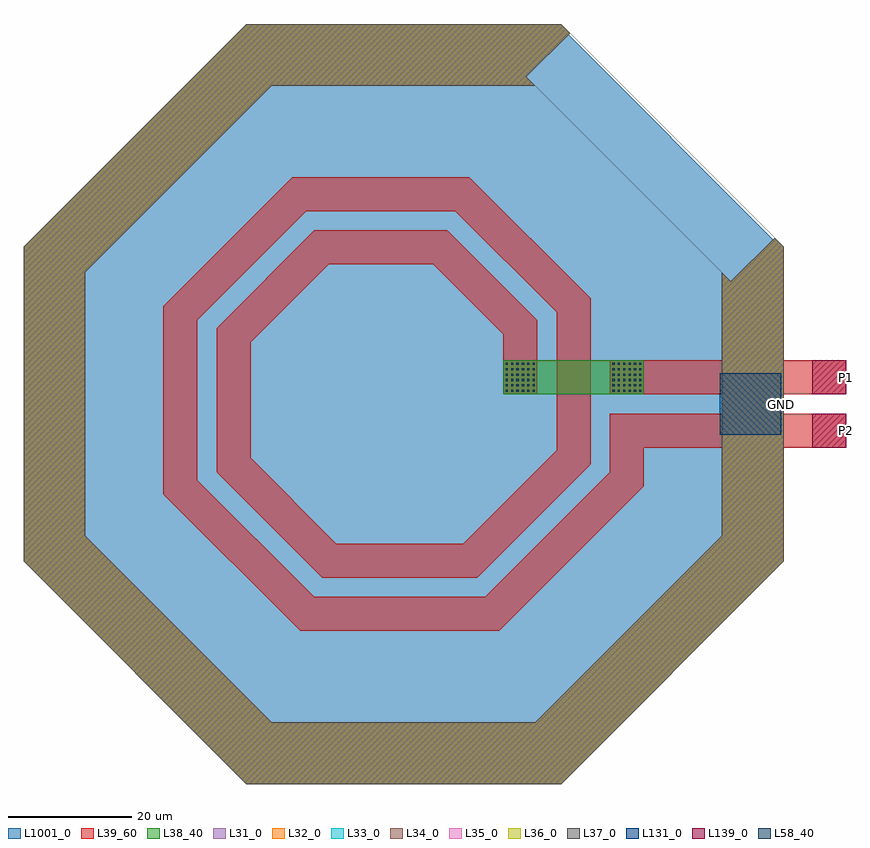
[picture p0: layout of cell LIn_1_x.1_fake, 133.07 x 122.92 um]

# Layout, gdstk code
import gdstk
lib = gdstk.Library(unit=1e-6, precision=1e-09)
def R(c, l, rs):  # rectangles x0, y0, x1, y1
    for r in rs: c.add(gdstk.rectangle(r[:2], r[2:], *l))
def A(c, l, x, y, w, h, nx, ny, dx, dy):  # array of equal rectangles
    R(c, l, [(x+i*dx, y+j*dy, x+i*dx+w, y+j*dy+h) for i in range(nx) for j in range(ny)])
def P(c, l, *ps):  # polygons
    for p in ps: c.add(gdstk.Polygon(p, *l))
L31_0 = (31, 0)
L32_0 = (32, 0)
L33_0 = (33, 0)
L34_0 = (34, 0)
L35_0 = (35, 0)
L36_0 = (36, 0)
L37_0 = (37, 0)
L38_40 = (38, 40)
L39_60 = (39, 60)
L58_40 = (58, 40)
L131_0 = (131, 0)
L139_0 = (139, 0)
L1001_0 = (1001, 0)

lin_1_x_1_fake = lib.new_cell('LIn_1_x.1_fake')
P(lin_1_x_1_fake, L31_0, [(52.925,19.851),(59.996,26.922),(25.458,61.46),(-25.458,61.46),(-61.46,25.458),(-61.46,-25.458),(-25.458,-61.46),(25.458,-61.46),(61.46,-25.458),(61.46,25.458),(26.922,59.996),(19.851,52.925),(51.46,21.315),(51.46,-21.315),(21.315,-51.46),(-21.315,-51.46),(-51.46,-21.315),(-51.46,21.315),(-21.315,51.46),(21.315,51.46)])
P(lin_1_x_1_fake, L32_0, [(52.925,19.851),(59.996,26.922),(25.458,61.46),(-25.458,61.46),(-61.46,25.458),(-61.46,-25.458),(-25.458,-61.46),(25.458,-61.46),(61.46,-25.458),(61.46,25.458),(26.922,59.996),(19.851,52.925),(51.46,21.315),(51.46,-21.315),(21.315,-51.46),(-21.315,-51.46),(-51.46,-21.315),(-51.46,21.315),(-21.315,51.46),(21.315,51.46)])
P(lin_1_x_1_fake, L33_0, [(52.925,19.851),(59.996,26.922),(25.458,61.46),(-25.458,61.46),(-61.46,25.458),(-61.46,-25.458),(-25.458,-61.46),(25.458,-61.46),(61.46,-25.458),(61.46,25.458),(26.922,59.996),(19.851,52.925),(51.46,21.315),(51.46,-21.315),(21.315,-51.46),(-21.315,-51.46),(-51.46,-21.315),(-51.46,21.315),(-21.315,51.46),(21.315,51.46)])
P(lin_1_x_1_fake, L34_0, [(52.925,19.851),(59.996,26.922),(25.458,61.46),(-25.458,61.46),(-61.46,25.458),(-61.46,-25.458),(-25.458,-61.46),(25.458,-61.46),(61.46,-25.458),(61.46,25.458),(26.922,59.996),(19.851,52.925),(51.46,21.315),(51.46,-21.315),(21.315,-51.46),(-21.315,-51.46),(-51.46,-21.315),(-51.46,21.315),(-21.315,51.46),(21.315,51.46)])
P(lin_1_x_1_fake, L35_0, [(52.925,19.851),(59.996,26.922),(25.458,61.46),(-25.458,61.46),(-61.46,25.458),(-61.46,-25.458),(-25.458,-61.46),(25.458,-61.46),(61.46,-25.458),(61.46,25.458),(26.922,59.996),(19.851,52.925),(51.46,21.315),(51.46,-21.315),(21.315,-51.46),(-21.315,-51.46),(-51.46,-21.315),(-51.46,21.315),(-21.315,51.46),(21.315,51.46)])
P(lin_1_x_1_fake, L36_0, [(52.925,19.851),(59.996,26.922),(25.458,61.46),(-25.458,61.46),(-61.46,25.458),(-61.46,-25.458),(-25.458,-61.46),(25.458,-61.46),(61.46,-25.458),(61.46,25.458),(26.922,59.996),(19.851,52.925),(51.46,21.315),(51.46,-21.315),(21.315,-51.46),(-21.315,-51.46),(-51.46,-21.315),(-51.46,21.315),(-21.315,51.46),(21.315,51.46)])
P(lin_1_x_1_fake, L37_0, [(52.925,19.851),(59.996,26.922),(25.458,61.46),(-25.458,61.46),(-61.46,25.458),(-61.46,-25.458),(-25.458,-61.46),(25.458,-61.46),(61.46,-25.458),(61.46,25.458),(26.922,59.996),(19.851,52.925),(51.46,21.315),(51.46,-21.315),(21.315,-51.46),(-21.315,-51.46),(-51.46,-21.315),(-51.46,21.315),(-21.315,51.46),(21.315,51.46)])
R(lin_1_x_1_fake, L38_40, [(16.11,1.56,38.86,7.06)])
P(lin_1_x_1_fake, L38_40, [(52.925,19.851),(59.996,26.922),(25.458,61.46),(-25.458,61.46),(-61.46,25.458),(-61.46,-25.458),(-25.458,-61.46),(25.458,-61.46),(61.46,-25.458),(61.46,25.458),(26.922,59.996),(19.851,52.925),(51.46,21.315),(51.46,-21.315),(21.315,-51.46),(-21.315,-51.46),(-51.46,-21.315),(-51.46,21.315),(-21.315,51.46),(21.315,51.46)])
R(lin_1_x_1_fake, L39_60, [(33.36,-7.06,71.61,-1.56), (33.36,1.56,71.61,7.06)])
P(lin_1_x_1_fake, L39_60, [(16.11,1.56),(21.61,1.56),(21.61,13.524),(7.059,28.08),(-14.419,28.08),(-30.235,12.264),(-30.235,-10.999),(-13.154,-28.08),(11.894,-28.08),(30.235,-9.739),(30.235,17.099),(10.629,36.705),(-17.994,36.705),(-38.86,15.834),(-38.86,-14.574),(-16.729,-36.705),(15.464,-36.705),(38.86,-13.309),(38.86,-4.31),(33.36,-4.31),(33.36,-11.031),(13.186,-31.205),(-14.451,-31.205),(-33.36,-12.296),(-33.36,13.556),(-15.716,31.205),(8.351,31.205),(24.735,14.821),(24.735,-7.461),(9.616,-22.58),(-10.876,-22.58),(-24.735,-8.721),(-24.735,9.986),(-12.141,22.58),(4.781,22.58),(16.11,11.246)],
  [(52.925,19.851),(59.996,26.922),(25.458,61.46),(-25.458,61.46),(-61.46,25.458),(-61.46,-25.458),(-25.458,-61.46),(25.458,-61.46),(61.46,-25.458),(61.46,25.458),(26.922,59.996),(19.851,52.925),(51.46,21.315),(51.46,-21.315),(21.315,-51.46),(-21.315,-51.46),(-51.46,-21.315),(-51.46,21.315),(-21.315,51.46),(21.315,51.46)])
A(lin_1_x_1_fake, L58_40, 16.512, 1.962, 0.35, 0.35, 6, 6, 0.87, 0.87)
A(lin_1_x_1_fake, L58_40, 33.762, 1.962, 0.35, 0.35, 6, 6, 0.87, 0.87)
R(lin_1_x_1_fake, L131_0, [(51.11,-5,61.11,5)])
R(lin_1_x_1_fake, L139_0, [(66.11,-7.06,71.61,-1.56), (66.11,1.56,71.61,7.06)])
P(lin_1_x_1_fake, L1001_0, [(61.08,25.3),(25.3,61.08),(-25.3,61.08),(-61.08,25.3),(-61.08,-25.3),(-25.3,-61.08),(25.3,-61.08),(61.08,-25.3)],
  [(61.08,25.3),(25.3,61.08),(-25.3,61.08),(-61.08,25.3),(-61.08,-25.3),(-25.3,-61.08),(25.3,-61.08),(61.08,-25.3)],
  [(61.08,25.3),(25.3,61.08),(-25.3,61.08),(-61.08,25.3),(-61.08,-25.3),(-25.3,-61.08),(25.3,-61.08),(61.08,-25.3)],
  [(61.08,25.3),(25.3,61.08),(-25.3,61.08),(-61.08,25.3),(-61.08,-25.3),(-25.3,-61.08),(25.3,-61.08),(61.08,-25.3)],
  [(61.08,25.3),(25.3,61.08),(-25.3,61.08),(-61.08,25.3),(-61.08,-25.3),(-25.3,-61.08),(25.3,-61.08),(61.08,-25.3)],
  [(61.08,25.3),(25.3,61.08),(-25.3,61.08),(-61.08,25.3),(-61.08,-25.3),(-25.3,-61.08),(25.3,-61.08),(61.08,-25.3)],
  [(61.08,25.3),(25.3,61.08),(-25.3,61.08),(-61.08,25.3),(-61.08,-25.3),(-25.3,-61.08),(25.3,-61.08),(61.08,-25.3)],
  [(61.08,25.3),(25.3,61.08),(-25.3,61.08),(-61.08,25.3),(-61.08,-25.3),(-25.3,-61.08),(25.3,-61.08),(61.08,-25.3)],
  [(61.08,25.3),(25.3,61.08),(-25.3,61.08),(-61.08,25.3),(-61.08,-25.3),(-25.3,-61.08),(25.3,-61.08),(61.08,-25.3)])
lin_1_x_1_fake.add(gdstk.Label('P1', (71.612,4.312), layer=139, texttype=0))
lin_1_x_1_fake.add(gdstk.Label('P2', (71.612,-4.312), layer=139, texttype=0))
lin_1_x_1_fake.add(gdstk.Label('GND', (61.112,0), layer=131, texttype=0))

lib.write_gds('LIn_1_x.1_fake.gds')
